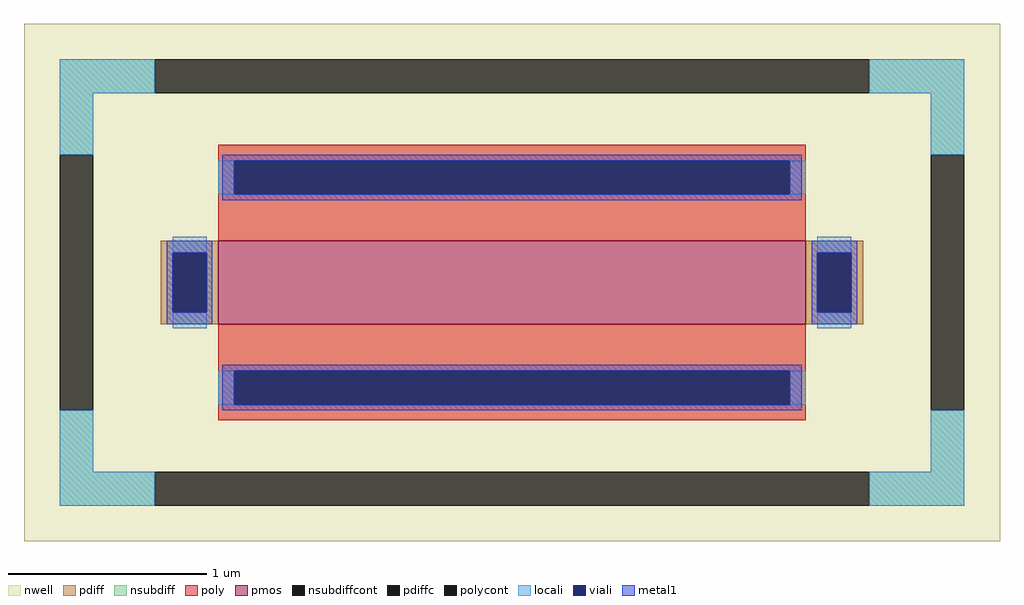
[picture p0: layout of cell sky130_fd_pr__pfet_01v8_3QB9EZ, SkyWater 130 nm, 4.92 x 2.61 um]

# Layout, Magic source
magic
tech sky130A
magscale 1 2
<< nwell >>
rect -492 -261 492 261
<< pmos >>
rect -296 -42 296 42
<< pdiff >>
rect -354 30 -296 42
rect -354 -30 -342 30
rect -308 -30 -296 30
rect -354 -42 -296 -30
rect 296 30 354 42
rect 296 -30 308 30
rect 342 -30 354 30
rect 296 -42 354 -30
<< pdiffc >>
rect -342 -30 -308 30
rect 308 -30 342 30
<< nsubdiff >>
rect -456 191 -360 225
rect 360 191 456 225
rect -456 129 -422 191
rect 422 129 456 191
rect -456 -191 -422 -129
rect 422 -191 456 -129
rect -456 -225 -360 -191
rect 360 -225 456 -191
<< nsubdiffcont >>
rect -360 191 360 225
rect -456 -129 -422 129
rect 422 -129 456 129
rect -360 -225 360 -191
<< poly >>
rect -296 123 296 139
rect -296 89 -280 123
rect 280 89 296 123
rect -296 42 296 89
rect -296 -89 296 -42
rect -296 -123 -280 -89
rect 280 -123 296 -89
rect -296 -139 296 -123
<< polycont >>
rect -280 89 280 123
rect -280 -123 280 -89
<< locali >>
rect -456 191 -360 225
rect 360 191 456 225
rect -456 129 -422 191
rect 422 129 456 191
rect -296 89 -280 123
rect 280 89 296 123
rect -342 30 -308 46
rect -342 -46 -308 -30
rect 308 30 342 46
rect 308 -46 342 -30
rect -296 -123 -280 -89
rect 280 -123 296 -89
rect -456 -191 -422 -129
rect 422 -191 456 -129
rect -456 -225 -360 -191
rect 360 -225 456 -191
<< viali >>
rect -280 89 280 123
rect -342 -30 -308 30
rect 308 -30 342 30
rect -280 -123 280 -89
<< metal1 >>
rect -292 123 292 129
rect -292 89 -280 123
rect 280 89 292 123
rect -292 83 292 89
rect -348 30 -302 42
rect -348 -30 -342 30
rect -308 -30 -302 30
rect -348 -42 -302 -30
rect 302 30 348 42
rect 302 -30 308 30
rect 342 -30 348 30
rect 302 -42 348 -30
rect -292 -89 292 -83
rect -292 -123 -280 -89
rect 280 -123 292 -89
rect -292 -129 292 -123
<< properties >>
string FIXED_BBOX -439 -208 439 208
string gencell sky130_fd_pr__pfet_01v8
string library sky130
string parameters w 0.42 l 2.96 m 1 nf 1 diffcov 100 polycov 100 guard 1 glc 1 grc 1 gtc 1 gbc 1 tbcov 100 rlcov 100 topc 1 botc 1 poverlap 0 doverlap 1 lmin 0.15 wmin 0.42 compatible {sky130_fd_pr__pfet_01v8  sky130_fd_pr__pfet_01v8_lvt sky130_fd_pr__pfet_01v8_hvt  sky130_fd_pr__pfet_g5v0d10v5} full_metal 1 viasrc 100 viadrn 100 viagate 100 viagb 0 viagr 0 viagl 0 viagt 0
<< end >>
